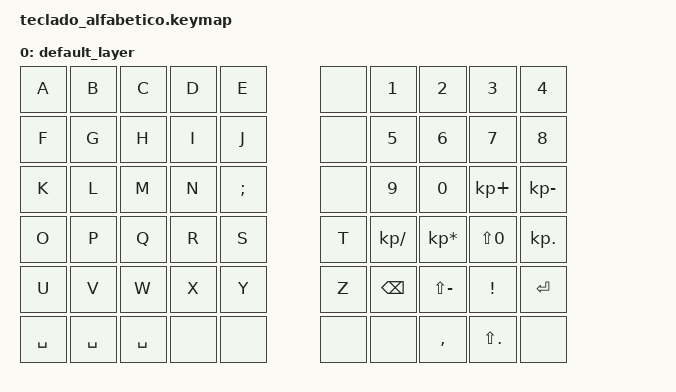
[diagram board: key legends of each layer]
#include <behaviors.dtsi>
#include <dt-bindings/zmk/keys.h>
#include <dt-bindings/zmk/bt.h>

/ {
    combos {
        compatible = "zmk,combos";

        /* Atajo: B + S = Modo Pendrive */
        combo_bootloader {
            timeout-ms = <50>;
            key-positions = <1 34>;
            bindings = <&bootloader>;
        };

        /* Atajo: D + V = Reinicio */
        combo_sys_reset {
            timeout-ms = <50>;
            key-positions = <3 41>;
            bindings = <&sys_reset>;
        };

        /* Atajo: J + Q = Bluetooth 1 (Tablet) */
        combo_bt_0 {
            timeout-ms = <50>;
            key-positions = <14 32>;
            bindings = <&bt BT_SEL 0>;
        };

        /* Atajo: H + P = Bluetooth 2 (Móvil) */
        combo_bt_1 {
            timeout-ms = <50>;
            key-positions = <12 31>;
            bindings = <&bt BT_SEL 1>;
        };

        /* Atajo: C + Y = Borrar Bluetooth actual */
        combo_bt_clr {
            timeout-ms = <50>;
            key-positions = <2 44>;
            bindings = <&bt BT_CLR>;
        };
    };

    keymap {
        compatible = "zmk,keymap";

        default_layer {
            bindings = <
/* Fila 1 (Posiciones 0 a 9) */   &kp A &kp B &kp C &kp D &kp E         &none   &kp N1 &kp N2 &kp N3 &kp N4
/* Fila 2 (Posiciones 10 a 19) */ &kp F &kp G &kp H &kp I &kp J         &none   &kp N5 &kp N6 &kp N7 &kp N8
/* Fila 3 (Posiciones 20 a 29) */ &kp K &kp L &kp M &kp N &kp SEMI      &none   &kp N9 &kp N0 &kp KP_PLUS &kp KP_MINUS
/* Fila 4 (Posiciones 30 a 39) */ &kp O &kp P &kp Q &kp R &kp S         &kp T   &kp KP_DIVIDE &kp KP_MULTIPLY &kp LS(N0) &kp KP_DOT
/* Fila 5 (Posiciones 40 a 49) */ &kp U &kp V &kp W &kp X &kp Y         &kp Z   &kp BSPC &kp LS(MINUS) &kp EXCL &kp ENTER
/* Fila 6 (Posiciones 50 a 59) */ &kp SPACE &kp SPACE &kp SPACE &none &none    &none   &none &kp COMMA &kp LS(DOT) &none
            >;
        };
    };
};
